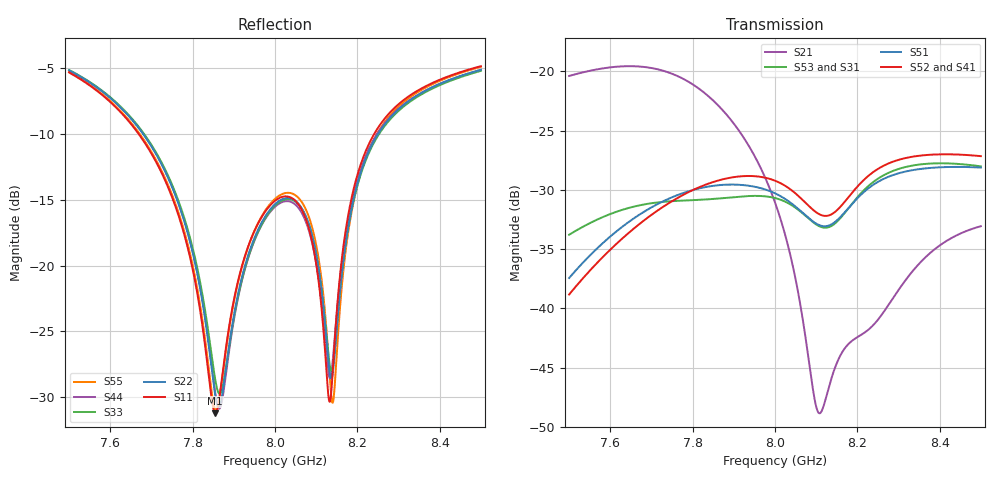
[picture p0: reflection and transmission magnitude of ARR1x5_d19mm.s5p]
! Touchstone file exported from HFSS 2025.1.0
!  File:  C:/Users/user/Documents/Ansoft/TFG_UWB-MIMO-Array.aedt
!  Generated:  08:09:02 PM Nov 16, 2026
!  Design:  ARR1x5_US3_PS4_2_1_dparam
!  Project:  TFG_UWB-MIMO-Array
!  Setup:  Setup_ch9
!  Solution:  Sweep_7p5_8p5
! Variables:
!  arr_d = 19mm
!  board_m = 13mm
!  board_x = 102mm
!  board_y = 26mm
!  cu_t = 0.035mm
!  line_w = 3.92mm
!  pad_xy = 22mm
!  pad_zn = 25mm
!  pad_zp = 33mm
!  par_L = 7.46mm
!  par_W = 10mm
!  par_yc = 0.75mm
!  par_z = 1.035mm
!  patch_L = 6.222mm
!  patch_W = 11.421266mm
!  sub_h = 2.07mm
!  tr_l = 6.6mm
!  tr_w = 0.8mm
!  u_Lu = 2.65mm
!  u_Wu = 4.4mm
!  u_t = 0.8mm
!  u_y0 = -0.7mm
# GHz S MA R 50.000000
! Terminal data exported
! Port[1] = P1
! Port[2] = P2
! Port[3] = P3
! Port[4] = P4
! Port[5] = P5
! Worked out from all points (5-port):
!   1001 points, 7.5 GHz to 8.5 GHz, reference 50 ohm
!   strongest paths, dB at 7.5 GHz, 7.75 GHz, 8 GHz, 8.25 GHz, 8.5 GHz:
!     S52: -38.8, -31.0, -29.2, -28.2, -27.2
!     S41: -38.7, -31.0, -29.4, -28.3, -27.3
!     S51: -37.4, -30.6, -30.3, -29.3, -28.1
!     S53: -33.8, -31.0, -30.7, -29.1, -28.0
!     S31: -33.8, -31.1, -30.8, -29.1, -28.1
!     S21: -20.4, -20.2, -31.1, -41.0, -33.1
!   lowest |S11| = -31.2 dB at 7.855 GHz (marker M1), VSWR 1.06, Z = 47.7 + j1.45 ohm
!   |S11| at or under -10 dB: 7.669 GHz to 8.241 GHz (571.8 MHz wide, 7.19 % of centre)
